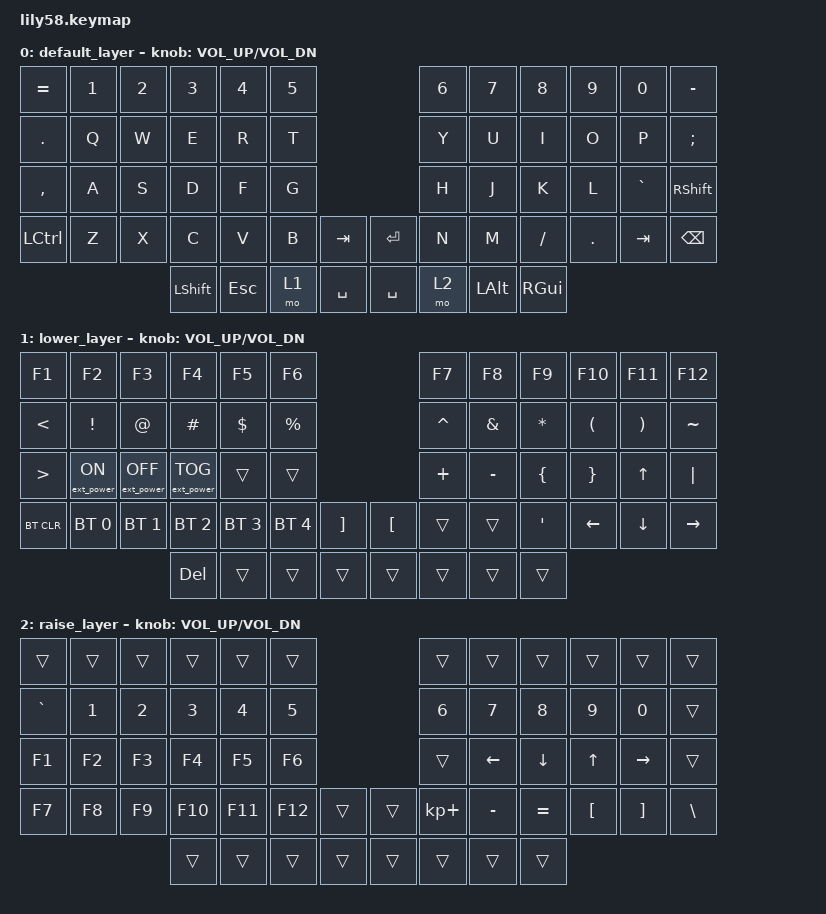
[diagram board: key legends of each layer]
/*
 * Copyright (c) 2020 The ZMK Contributors
 *
 * SPDX-License-Identifier: MIT
 */

#include <behaviors.dtsi>
#include <dt-bindings/zmk/keys.h>
#include <dt-bindings/zmk/bt.h>
#include <dt-bindings/zmk/ext_power.h>

/ {
    keymap {
        compatible = "zmk,keymap";

        default_layer {
// ------------------------------------------------------------------------------------------------------------
// |  =  |  1  |  2  |  3   |  4   |  5   |                   |  6   |  7    |  8    |  9   |   0   |   -   |
// |  .  |  Q  |  W  |  E   |  R   |  T   |                   |  Y   |  U    |  I    |  O   |   P   |   ;   |
// |  , |  A  |  S  |  D   |  F   |  G   |                   |  H   |  J    |  K    |  L   |   `   |   RSHFT   |
// | CTRL |  Z  |  X  |  C   |  V   |  B   |   TAB  |  |  ENTER  |  N   |  M    |  /    |  .   |   TAB   | BSPC |
//                     | SHIFT  | ESC  | LOWER|  SPACE |  | SPACE | RAISE| ALT  | GUI   |
            bindings = <
&kp EQUAL   &kp N1 &kp N2 &kp N3   &kp N4   &kp N5                     &kp N6 &kp N7   &kp N8    &kp N9  &kp N0   &kp MINUS
&kp DOT   &kp Q  &kp W  &kp E    &kp R    &kp T                      &kp Y  &kp U    &kp I     &kp O   &kp P    &kp SEMI
&kp COMMA &kp A  &kp S  &kp D    &kp F    &kp G                      &kp H  &kp J    &kp K     &kp L   &kp GRAVE &kp RSHFT
&kp LCTRL &kp Z  &kp X  &kp C    &kp V    &kp B  &kp TAB   &kp RET &kp N  &kp M    &kp FSLH &kp DOT &kp TAB &kp BSPC
                        &kp LSHFT &kp ESC &mo 1  &kp SPACE  &kp SPACE  &mo 2  &kp LALT &kp RGUI
            >;

            sensor-bindings = <&inc_dec_kp C_VOL_UP C_VOL_DN>;
        };

        lower_layer {
// ------------------------------------------------------------------------------------------------------------
// |  F1   |  F2 |  F3 |  F4  |  F5  |  F6  |                   |  F7  |  F8   |  F9   |  F10 |  F11  |  F12  |
// |   <   |  !  |  @  |  #   |  $   |  %   |                   |  ^   |  &    |  *    |  (   |   )   |   ~   |
// |   >   |     |     |      |      |      |                   |   +   |  _    |  {   |  }   |   ^   |  "|"  |
// | BTCLR | BT1 | BT2 |  BT3 |  BT4 |  BT5 |                   |      |       |   '    |  <-  |  v   |  ->   |
//                     | DEL |      |      |    [    |  |   ]    |      |       |       |
            bindings = <
&kp F1     &kp F2           &kp F3            &kp F4            &kp F5       &kp F6                       &kp F7    &kp F8    &kp F9    &kp F10   &kp F11   &kp F12
&kp LT  &kp EXCL         &kp AT            &kp HASH          &kp DOLLAR   &kp PRCNT                        &kp CARET &kp AMPS  &kp ASTRK &kp LPAR  &kp RPAR  &kp TILDE
&kp GT     &ext_power EP_ON &ext_power EP_OFF &ext_power EP_TOG &trans       &trans                        &kp PLUS   &kp MINUS &kp LBRC  &kp RBRC  &kp UP  &kp PIPE
&bt BT_CLR &bt BT_SEL 0     &bt BT_SEL 1      &bt BT_SEL 2      &bt BT_SEL 3 &bt BT_SEL 4   &kp RBKT   &kp LBKT    &trans    &trans    &kp SQT    &kp LEFT    &kp DOWN    &kp RIGHT
                                              &kp DEL            &trans       &trans    &trans   &trans    &trans    &trans    &trans
            >;

            sensor-bindings = <&inc_dec_kp C_VOL_UP C_VOL_DN>;
        };

        raise_layer {
// ------------------------------------------------------------------------------------------------------------
// |       |     |     |      |      |      |                   |      |       |       |      |       |       |
// |   `   |  1  |  2  |  3   |  4   |  5   |                   |  6   |   7   |   8   |  9   |   0   |       |
// |   F1  |  F2 |  F3 |  F4  |  F5  |  F6  |                   |      |   <-  |   v   |  ^   |  ->   |       |
// |   F7  |  F8 |  F9 |  F10 |  F11 |  F12 |        |  |       |  +   |   -   |   =   |  [   |   ]   |   \   |
//                     |      |      |      |        |  |       |      |       |       |
            bindings = <
&trans    &trans &trans &trans  &trans  &trans                       &trans      &trans    &trans    &trans   &trans    &trans
&kp GRAVE &kp N1 &kp N2 &kp N3  &kp N4  &kp N5                       &kp N6      &kp N7    &kp N8    &kp N9   &kp N0    &trans
&kp F1    &kp F2 &kp F3 &kp F4  &kp F5  &kp F6                       &trans      &kp LEFT  &kp DOWN  &kp UP   &kp RIGHT &trans
&kp F7    &kp F8 &kp F9 &kp F10 &kp F11 &kp F12   &trans   &trans    &kp KP_PLUS &kp MINUS &kp EQUAL &kp LBKT &kp RBKT  &kp BSLH
                        &trans  &trans  &trans    &trans   &trans    &trans      &trans    &trans
            >;

            sensor-bindings = <&inc_dec_kp C_VOL_UP C_VOL_DN>;
        };
    };
};
